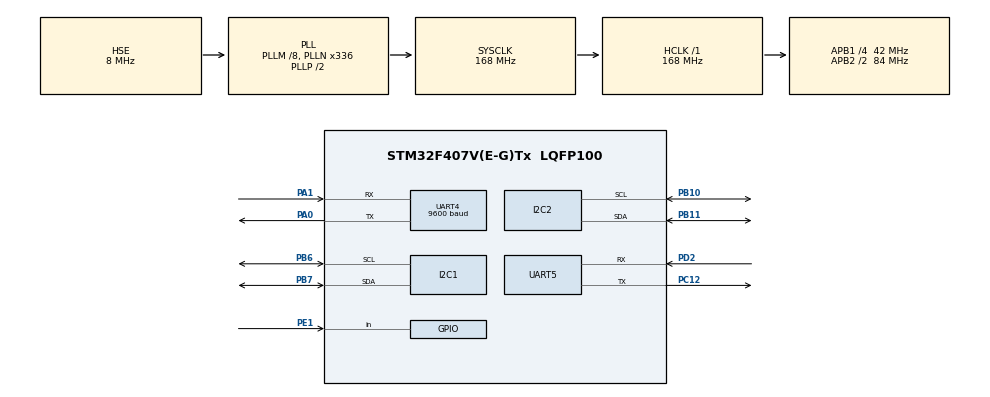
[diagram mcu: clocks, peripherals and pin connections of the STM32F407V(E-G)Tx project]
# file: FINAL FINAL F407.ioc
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I2C1.I2C_Mode=I2C_Fast
Mcu.Family=STM32F4
Mcu.Name=STM32F407V(E-G)Tx
Mcu.Package=LQFP100
NVIC.PriorityGroup=NVIC_PRIORITYGROUP_0
PA0-WKUP.Mode=Asynchronous
PA0-WKUP.Signal=UART4_TX
PA1.Mode=Asynchronous
PA1.Signal=UART4_RX
PB10.Mode=I2C
PB10.Signal=I2C2_SCL
PB11.Mode=I2C
PB11.Signal=I2C2_SDA
PB6.Mode=I2C
PB6.Signal=I2C1_SCL
PB7.Mode=I2C
PB7.Signal=I2C1_SDA
PC12.Mode=Asynchronous
PC12.Signal=UART5_TX
PD2.Mode=Asynchronous
PD2.Signal=UART5_RX
PE1.Signal=GPIO_Input
PH0-OSC_IN.Mode=HSE-External-Oscillator
PH0-OSC_IN.Signal=RCC_OSC_IN
PH1-OSC_OUT.Mode=HSE-External-Oscillator
PH1-OSC_OUT.Signal=RCC_OSC_OUT
ProjectManager.HeapSize=0x200
ProjectManager.StackSize=0x400
ProjectManager.TargetToolchain=STM32CubeIDE
RCC.48MHZClocksFreq_Value=48000000
RCC.AHBFreq_Value=168000000
RCC.APB1CLKDivider=RCC_HCLK_DIV4
RCC.APB1Freq_Value=42000000
RCC.APB1TimFreq_Value=84000000
RCC.APB2CLKDivider=RCC_HCLK_DIV2
RCC.APB2Freq_Value=84000000
RCC.APB2TimFreq_Value=168000000
RCC.CortexFreq_Value=168000000
RCC.HCLKFreq_Value=168000000
RCC.HSE_VALUE=8000000
RCC.HSI_VALUE=16000000
RCC.LSE_VALUE=32768
RCC.PLLM=8
RCC.PLLN=336
RCC.PLLQ=7
RCC.PLLSourceVirtual=RCC_PLLSOURCE_HSE
RCC.SYSCLKFreq_VALUE=168000000
RCC.SYSCLKSource=RCC_SYSCLKSOURCE_PLLCLK
RCC.VCOOutputFreq_Value=336000000
UART4.BaudRate=9600
UART4.VirtualMode=Asynchronous
UART5.VirtualMode=Asynchronous
board=STM32F407G-DISC1

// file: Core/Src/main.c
/* USER CODE BEGIN Header */
/**
  ******************************************************************************
  * @file           : main.c
  * @brief          : Main program body
  ******************************************************************************
  * @attention
  *
  * Copyright (c) 2024 STMicroelectronics.
  * All rights reserved.
  *
  * This software is licensed under terms that can be found in the LICENSE file
  * in the root directory of this software component.
  * If no LICENSE file comes with this software, it is provided AS-IS.
  *
  ******************************************************************************
  */
/* USER CODE END Header */
#include "main.h"

/* USER CODE BEGIN Includes */
#include<stdio.h>
#include "mics6814.h"
#include "ens160.h"
#include "sht40.h"
#include "ZPH_03.h"
#include "fonts.h"
#include "ssd1306.h"
#include "Aqi.h"

/* USER CODE END Includes */

I2C_HandleTypeDef hi2c1;
I2C_HandleTypeDef hi2c2;

UART_HandleTypeDef huart4;
UART_HandleTypeDef huart5;

/* USER CODE BEGIN PV */
uint16_t NO2_ppb;
uint16_t CO_ppm;
uint16_t CO2_ppm;
uint16_t TVOC_ppb;
uint16_t NH3_ppm;

uint16_t pm_2_5;
uint16_t pm_10;
uint16_t PM_2_5_subIndex;
uint16_t PM_10_subIndex;
uint16_t finalAQI = 0;

uint16_t NO2_AQI;
uint16_t CO_AQI;

char CO2_Quality[9] 	= {"\0"};
char Temperature[3] 	= {"\0"};
char Humidity[3] 		= {"\0"};

char atrespond[20] = {};

char local_buf[100] = {0};

char key[] = {"YOCGY86U5AT7MBLW"};
/*
char pm2_5buf[10] = {"\0"};
char pm10_buf[10] = {"\0"};
*/

/* USER CODE END PV */

void SystemClock_Config(void);
static void MX_GPIO_Init(void);
static void MX_I2C1_Init(void);
static void MX_I2C2_Init(void);
static void MX_UART4_Init(void);
static void MX_UART5_Init(void);

/* USER CODE BEGIN 0 */

/*Module Initializations*/

/* USER CODE END 0 */

int main(void)
{

  /* MCU Configuration--------------------------------------------------------*/

  /* Reset of all peripherals, Initializes the Flash interface and the Systick. */
  HAL_Init();

  /* Configure the system clock */
  SystemClock_Config();

  /* Initialize all configured peripherals */
  MX_GPIO_Init();
  MX_I2C1_Init();
  MX_I2C2_Init();
  MX_UART4_Init();
  MX_UART5_Init();
  /* USER CODE BEGIN 2 */
  HAL_UART_Transmit(&huart5, (uint8_t*)"AT+RST\r\n", sizeof("AT+RST\r\n"), 1000);
  HAL_UART_Receive(&huart5, (uint8_t*)atrespond, sizeof(atrespond), 1000);
  HAL_Delay(3000);

  HAL_UART_Transmit(&huart5, (uint8_t*)"AT+CWJAP=\"Geetansh Galaxy S23\",\"8076251649\"\r\n", sizeof("AT+CWJAP=\"Geetansh Galaxy S23\",\"8076251649\"\r\n"), 1000);
  HAL_UART_Receive(&huart5, (uint8_t*)atrespond, sizeof(atrespond), 1000);

  airq5_init();
  ens160_Init();
  ZPH03_Init();
  SSD1306_Init();  // initialise

  SSD1306_GotoXY (0,0);
  SSD1306_Puts ("Please Wait", &Font_11x18, 1);
  SSD1306_UpdateScreen(); //display

  HAL_Delay(30000);

  /* USER CODE END 2 */

  /* Infinite loop */
  /* USER CODE BEGIN WHILE */
  while (1)
  {

		 //--------------------------------GET THE DATA--------------------------------

		 NO2_ppb =  getNO2_ppb();
		 NO2_AQI =  getNO2_AQI();
		 CO_ppm  =  getCO_ppm();
		 CO_AQI  =  getCO_aqi();

		 CO2_ppm = ens_getCO2_PPM();

		 strcpy(CO2_Quality, (ens_getCO2_Quality(CO2_ppm)));

		 strcpy(Temperature, (sht_getTemp()));
		 strcpy(Humidity, (sht_getHumidity()));

		 pm_2_5 = ZPH03_PM_2_5();
		 pm_10 	= ZPH03_PM_10();

		 PM_2_5_subIndex = ZPH03_pm_2_5_getSubindex();
		 PM_10_subIndex  = ZPH03_pm_2_5_getSubindex();

		 finalAQI = get_Actual_AQI(NO2_AQI, CO_AQI, PM_2_5_subIndex, PM_10_subIndex);

		 //--------------------------------DISPLAY THE DATA--------------------------------

		 //Convert Integer To string

		  	char pm2_5_buf[5];
		  	itoa(pm_2_5, pm2_5_buf, 10);

			char pm10_buf[5];
			itoa(pm_10, pm10_buf, 10);

			char co_buf[5];
			itoa(CO_ppm, co_buf, 10);

			char no2_buf[5];
			itoa(NO2_ppb, no2_buf, 10);

		  	char masterAQI[5];
		  	itoa(finalAQI, masterAQI, 10);

		  	SSD1306_Clear();
		    SSD1306_GotoXY (30,0);
		    SSD1306_Puts ("AQI ", &Font_16x26, 1);

		    SSD1306_GotoXY (30,30);
		    SSD1306_Puts (masterAQI, &Font_16x26, 1);
		    SSD1306_UpdateScreen(); //display

		    HAL_Delay(5000);

		  	SSD1306_Clear();
		    SSD1306_GotoXY (30,0);
		    SSD1306_Puts ("PM 2.5", &Font_11x18, 1);

		    SSD1306_GotoXY (30,20);
		    SSD1306_Puts (pm2_5_buf, &Font_11x18, 1);

		    SSD1306_GotoXY (30,40);
		    SSD1306_Puts ("ug/m3", &Font_11x18, 1);
		    SSD1306_UpdateScreen(); //display

		    HAL_Delay(5000);

		  	SSD1306_Clear();
		    SSD1306_GotoXY (30,0);
		    SSD1306_Puts ("PM 10", &Font_11x18, 1);

		    SSD1306_GotoXY (30,20);
		    SSD1306_Puts (pm10_buf, &Font_11x18, 1);

		    SSD1306_GotoXY (30,40);
		    SSD1306_Puts ("ug/m3", &Font_11x18, 1);
		    SSD1306_UpdateScreen(); //display

		    HAL_Delay(5000);

		  	SSD1306_Clear();
		    SSD1306_GotoXY (30,0);
		    SSD1306_Puts ("CO gas", &Font_11x18, 1);

		    SSD1306_GotoXY (30,20);
		    SSD1306_Puts (co_buf, &Font_11x18, 1);

		    SSD1306_GotoXY (30,40);
		    SSD1306_Puts ("PPM", &Font_11x18, 1);
		    SSD1306_UpdateScreen(); //display

		    HAL_Delay(5000);

		  	SSD1306_Clear();
		    SSD1306_GotoXY (30,0);
		    SSD1306_Puts ("NO2", &Font_11x18, 1);

		    SSD1306_GotoXY (30,20);
		    SSD1306_Puts (no2_buf, &Font_11x18, 1);

		    SSD1306_GotoXY (30,40);
		    SSD1306_Puts ("PPB", &Font_11x18, 1);
		    SSD1306_UpdateScreen(); //display

		    HAL_Delay(5000);

		  	SSD1306_Clear();
		    SSD1306_GotoXY (0,0);
		    SSD1306_Puts ("CO2 Quality", &Font_11x18, 1);

		    SSD1306_GotoXY (0,30);
		    SSD1306_Puts (CO2_Quality, &Font_11x18, 1);
		    SSD1306_UpdateScreen(); //display

		    HAL_Delay(5000);

		  	SSD1306_Clear();
		    SSD1306_GotoXY (0,0);
		    SSD1306_Puts ("Temp :", &Font_11x18, 1);
		    SSD1306_GotoXY (50,0);
		    SSD1306_Puts (Temperature, &Font_11x18, 1);
		    SSD1306_GotoXY (80,0);
		    SSD1306_Puts (" C", &Font_11x18, 1);
		    SSD1306_GotoXY (0,30);
		    SSD1306_Puts ("RH", &Font_11x18, 1);
		    SSD1306_GotoXY (50,30);
		    SSD1306_Puts (Humidity, &Font_11x18, 1);
		    SSD1306_UpdateScreen(); //display

		    HAL_Delay(5000);

			HAL_UART_Transmit(&huart5, (uint8_t*)"AT+CIPSTART=\"TCP\",\"api.thingspeak.com\",80\r\n", sizeof("AT+CIPSTART=\"TCP\",\"api.thingspeak.com\",80\r\n"), 1000);
			HAL_UART_Receive(&huart5, (uint8_t*)atrespond, sizeof(atrespond), 1000);
			HAL_Delay(3000);

			HAL_UART_Transmit(&huart5, (uint8_t*)"AT+CIPSEND=51\r\n", sizeof("AT+CIPSEND=51\r\n"), 1000);
			HAL_UART_Receive(&huart5, (uint8_t*)atrespond, sizeof(atrespond), 1000);
			HAL_Delay(3000);

			sprintf (local_buf, "GET /update?api_key=%s&field%d=%u\r\n", key, 1, finalAQI);
			int len = strlen (local_buf);

			HAL_UART_Transmit(&huart5, (uint8_t*)local_buf, len, 1000);
			HAL_UART_Receive(&huart5, (uint8_t*)atrespond, sizeof(atrespond), 1000);
			HAL_Delay(8000);

			HAL_UART_Transmit(&huart5, (uint8_t*)"AT+CIPCLOSE\r\n", sizeof("AT+CIPCLOSE\r\n"), 1000);
			HAL_UART_Receive(&huart5, (uint8_t*)atrespond, sizeof(atrespond), 1000);
		    HAL_Delay(8000);
			/*___________________________________________________________________________________________________________________________________________________________________________*/
			HAL_UART_Transmit(&huart5, (uint8_t*)"AT+CIPSTART=\"TCP\",\"api.thingspeak.com\",80\r\n", sizeof("AT+CIPSTART=\"TCP\",\"api.thingspeak.com\",80\r\n"), 1000);
			HAL_UART_Receive(&huart5, (uint8_t*)atrespond, sizeof(atrespond), 1000);
			HAL_Delay(3000);

			HAL_UART_Transmit(&huart5, (uint8_t*)"AT+CIPSEND=51\r\n", sizeof("AT+CIPSEND=51\r\n"), 1000);
			HAL_UART_Receive(&huart5, (uint8_t*)atrespond, sizeof(atrespond), 1000);
			HAL_Delay(3000);

			sprintf (local_buf, "GET /update?api_key=%s&field%d=%u\r\n", key, 2, pm_2_5);
			 len = strlen (local_buf);

			HAL_UART_Transmit(&huart5, (uint8_t*)local_buf, len, 1000);
			HAL_UART_Receive(&huart5, (uint8_t*)atrespond, sizeof(atrespond), 1000);
			HAL_Delay(8000);

			HAL_UART_Transmit(&huart5, (uint8_t*)"AT+CIPCLOSE\r\n", sizeof("AT+CIPCLOSE\r\n"), 1000);
			HAL_UART_Receive(&huart5, (uint8_t*)atrespond, sizeof(atrespond), 1000);
		    HAL_Delay(8000);
			/*___________________________________________________________________________________________________________________________________________________________________________*/
			HAL_UART_Transmit(&huart5, (uint8_t*)"AT+CIPSTART=\"TCP\",\"api.thingspeak.com\",80\r\n", sizeof("AT+CIPSTART=\"TCP\",\"api.thingspeak.com\",80\r\n"), 1000);
			HAL_UART_Receive(&huart5, (uint8_t*)atrespond, sizeof(atrespond), 1000);
			HAL_Delay(3000);

			HAL_UART_Transmit(&huart5, (uint8_t*)"AT+CIPSEND=51\r\n", sizeof("AT+CIPSEND=51\r\n"), 1000);
			HAL_UART_Receive(&huart5, (uint8_t*)atrespond, sizeof(atrespond), 1000);
			HAL_Delay(3000);

			sprintf (local_buf, "GET /update?api_key=%s&field%d=%u\r\n", key, 3, pm_10);
			 len = strlen (local_buf);

			HAL_UART_Transmit(&huart5, (uint8_t*)local_buf, len, 1000);
			HAL_UART_Receive(&huart5, (uint8_t*)atrespond, sizeof(atrespond), 1000);
			HAL_Delay(8000);

			HAL_UART_Transmit(&huart5, (uint8_t*)"AT+CIPCLOSE\r\n", sizeof("AT+CIPCLOSE\r\n"), 1000);
			HAL_UART_Receive(&huart5, (uint8_t*)atrespond, sizeof(atrespond), 1000);
		    HAL_Delay(8000);
			/*___________________________________________________________________________________________________________________________________________________________________________*/
			HAL_UART_Transmit(&huart5, (uint8_t*)"AT+CIPSTART=\"TCP\",\"api.thingspeak.com\",80\r\n", sizeof("AT+CIPSTART=\"TCP\",\"api.thingspeak.com\",80\r\n"), 1000);
			HAL_UART_Receive(&huart5, (uint8_t*)atrespond, sizeof(atrespond), 1000);
			HAL_Delay(3000);

			HAL_UART_Transmit(&huart5, (uint8_t*)"AT+CIPSEND=51\r\n", sizeof("AT+CIPSEND=51\r\n"), 1000);
			HAL_UART_Receive(&huart5, (uint8_t*)atrespond, sizeof(atrespond), 1000);
			HAL_Delay(3000);

			sprintf (local_buf, "GET /update?api_key=%s&field%d=%u\r\n", key, 4, CO_ppm);
			 len = strlen (local_buf);

			HAL_UART_Transmit(&huart5, (uint8_t*)local_buf, len, 1000);
			HAL_UART_Receive(&huart5, (uint8_t*)atrespond, sizeof(atrespond), 1000);
			HAL_Delay(8000);

			HAL_UART_Transmit(&huart5, (uint8_t*)"AT+CIPCLOSE\r\n", sizeof("AT+CIPCLOSE\r\n"), 1000);
			HAL_UART_Receive(&huart5, (uint8_t*)atrespond, sizeof(atrespond), 1000);
		    HAL_Delay(8000);
			/*___________________________________________________________________________________________________________________________________________________________________________*/
			HAL_UART_Transmit(&huart5, (uint8_t*)"AT+CIPSTART=\"TCP\",\"api.thingspeak.com\",80\r\n", sizeof("AT+CIPSTART=\"TCP\",\"api.thingspeak.com\",80\r\n"), 1000);
			HAL_UART_Receive(&huart5, (uint8_t*)atrespond, sizeof(atrespond), 1000);
			HAL_Delay(3000);

			HAL_UART_Transmit(&huart5, (uint8_t*)"AT+CIPSEND=51\r\n", sizeof("AT+CIPSEND=51\r\n"), 1000);
			HAL_UART_Receive(&huart5, (uint8_t*)atrespond, sizeof(atrespond), 1000);
			HAL_Delay(3000);

			sprintf (local_buf, "GET /update?api_key=%s&field%d=%u\r\n", key, 5, NO2_ppb);
			 len = strlen (local_buf);

			HAL_UART_Transmit(&huart5, (uint8_t*)local_buf, len, 1000);
			HAL_UART_Receive(&huart5, (uint8_t*)atrespond, sizeof(atrespond), 1000);
			HAL_Delay(8000);

			HAL_UART_Transmit(&huart5, (uint8_t*)"AT+CIPCLOSE\r\n", sizeof("AT+CIPCLOSE\r\n"), 1000);
			HAL_UART_Receive(&huart5, (uint8_t*)atrespond, sizeof(atrespond), 1000);

    /* USER CODE END WHILE */

  }
}

void SystemClock_Config(void)
{
  RCC_OscInitTypeDef RCC_OscInitStruct = {0};
  RCC_ClkInitTypeDef RCC_ClkInitStruct = {0};

  /** Configure the main internal regulator output voltage
  */
  __HAL_RCC_PWR_CLK_ENABLE();
  __HAL_PWR_VOLTAGESCALING_CONFIG(PWR_REGULATOR_VOLTAGE_SCALE1);

  /** Initializes the RCC Oscillators according to the specified parameters
  * in the RCC_OscInitTypeDef structure.
  */
  RCC_OscInitStruct.OscillatorType = RCC_OSCILLATORTYPE_HSE;
  RCC_OscInitStruct.HSEState = RCC_HSE_ON;
  RCC_OscInitStruct.PLL.PLLState = RCC_PLL_ON;
  RCC_OscInitStruct.PLL.PLLSource = RCC_PLLSOURCE_HSE;
  RCC_OscInitStruct.PLL.PLLM = 8;
  RCC_OscInitStruct.PLL.PLLN = 336;
  RCC_OscInitStruct.PLL.PLLP = RCC_PLLP_DIV2;
  RCC_OscInitStruct.PLL.PLLQ = 7;
  if (HAL_RCC_OscConfig(&RCC_OscInitStruct) != HAL_OK)
  {
    Error_Handler();
  }

  /** Initializes the CPU, AHB and APB buses clocks
  */
  RCC_ClkInitStruct.ClockType = RCC_CLOCKTYPE_HCLK|RCC_CLOCKTYPE_SYSCLK
                              |RCC_CLOCKTYPE_PCLK1|RCC_CLOCKTYPE_PCLK2;
  RCC_ClkInitStruct.SYSCLKSource = RCC_SYSCLKSOURCE_PLLCLK;
  RCC_ClkInitStruct.AHBCLKDivider = RCC_SYSCLK_DIV1;
  RCC_ClkInitStruct.APB1CLKDivider = RCC_HCLK_DIV4;
  RCC_ClkInitStruct.APB2CLKDivider = RCC_HCLK_DIV2;

  if (HAL_RCC_ClockConfig(&RCC_ClkInitStruct, FLASH_LATENCY_5) != HAL_OK)
  {
    Error_Handler();
  }
}

static void MX_I2C1_Init(void)
{

  hi2c1.Instance = I2C1;
  hi2c1.Init.ClockSpeed = 400000;
  hi2c1.Init.DutyCycle = I2C_DUTYCYCLE_2;
  hi2c1.Init.OwnAddress1 = 0;
  hi2c1.Init.AddressingMode = I2C_ADDRESSINGMODE_7BIT;
  hi2c1.Init.DualAddressMode = I2C_DUALADDRESS_DISABLE;
  hi2c1.Init.OwnAddress2 = 0;
  hi2c1.Init.GeneralCallMode = I2C_GENERALCALL_DISABLE;
  hi2c1.Init.NoStretchMode = I2C_NOSTRETCH_DISABLE;
  if (HAL_I2C_Init(&hi2c1) != HAL_OK)
  {
    Error_Handler();
  }

}

static void MX_I2C2_Init(void)
{

  hi2c2.Instance = I2C2;
  hi2c2.Init.ClockSpeed = 100000;
  hi2c2.Init.DutyCycle = I2C_DUTYCYCLE_2;
  hi2c2.Init.OwnAddress1 = 0;
  hi2c2.Init.AddressingMode = I2C_ADDRESSINGMODE_7BIT;
  hi2c2.Init.DualAddressMode = I2C_DUALADDRESS_DISABLE;
  hi2c2.Init.OwnAddress2 = 0;
  hi2c2.Init.GeneralCallMode = I2C_GENERALCALL_DISABLE;
  hi2c2.Init.NoStretchMode = I2C_NOSTRETCH_DISABLE;
  if (HAL_I2C_Init(&hi2c2) != HAL_OK)
  {
    Error_Handler();
  }

}

static void MX_UART4_Init(void)
{

  huart4.Instance = UART4;
  huart4.Init.BaudRate = 9600;
  huart4.Init.WordLength = UART_WORDLENGTH_8B;
  huart4.Init.StopBits = UART_STOPBITS_1;
  huart4.Init.Parity = UART_PARITY_NONE;
  huart4.Init.Mode = UART_MODE_TX_RX;
  huart4.Init.HwFlowCtl = UART_HWCONTROL_NONE;
  huart4.Init.OverSampling = UART_OVERSAMPLING_16;
  if (HAL_UART_Init(&huart4) != HAL_OK)
  {
    Error_Handler();
  }

}

static void MX_UART5_Init(void)
{

  huart5.Instance = UART5;
  huart5.Init.BaudRate = 115200;
  huart5.Init.WordLength = UART_WORDLENGTH_8B;
  huart5.Init.StopBits = UART_STOPBITS_1;
  huart5.Init.Parity = UART_PARITY_NONE;
  huart5.Init.Mode = UART_MODE_TX_RX;
  huart5.Init.HwFlowCtl = UART_HWCONTROL_NONE;
  huart5.Init.OverSampling = UART_OVERSAMPLING_16;
  if (HAL_UART_Init(&huart5) != HAL_OK)
  {
    Error_Handler();
  }

}

static void MX_GPIO_Init(void)
{
  GPIO_InitTypeDef GPIO_InitStruct = {0};

  /* GPIO Ports Clock Enable */
  __HAL_RCC_GPIOH_CLK_ENABLE();
  __HAL_RCC_GPIOA_CLK_ENABLE();
  __HAL_RCC_GPIOB_CLK_ENABLE();
  __HAL_RCC_GPIOC_CLK_ENABLE();
  __HAL_RCC_GPIOD_CLK_ENABLE();
  __HAL_RCC_GPIOE_CLK_ENABLE();

  /*Configure GPIO pin : PE1 */
  GPIO_InitStruct.Pin = GPIO_PIN_1;
  GPIO_InitStruct.Mode = GPIO_MODE_INPUT;
  GPIO_InitStruct.Pull = GPIO_NOPULL;
  HAL_GPIO_Init(GPIOE, &GPIO_InitStruct);

}

void Error_Handler(void)
{
  __disable_irq();
  while (1)
  {
  }
}
